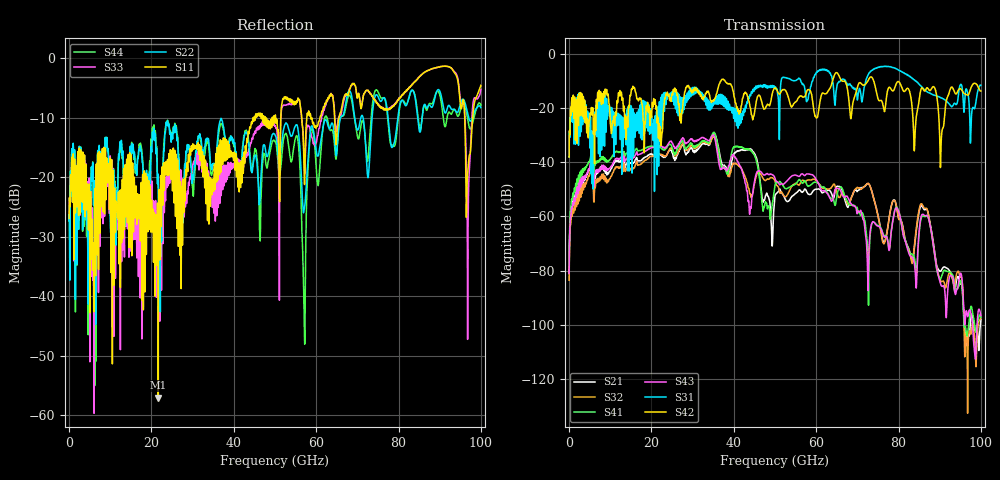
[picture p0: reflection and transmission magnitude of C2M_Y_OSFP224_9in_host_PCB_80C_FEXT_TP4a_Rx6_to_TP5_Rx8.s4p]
# GHz S RI R 45
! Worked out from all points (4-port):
!   4000 points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, 25 MHz to 100 GHz, reference 45 ohm
!   strongest paths, dB at 25 MHz, 25.02 GHz, 50.02 GHz, 75.03 GHz, 100 GHz:
!     S42: -38.1, -14.8, -12.6, -16.6, -13.8
!     S31: -38.1, -14.4, -12.4, -5.0, -11.6
!     S43: -81.0, -33.0, -46.1, -63.6, -96.6
!     S41: -78.1, -34.8, -48.3, -63.4, -97.2
!     S32: -83.5, -35.4, -47.2, -60.0, -97.4
!     S21: -81.0, -36.6, -52.3, -59.6, -98.1
!   lowest |S11| = -57.0 dB at 21.68 GHz (marker M1), VSWR 1.00, Z = 45.1 - j0.026 ohm
!   |S11| at or under -10 dB: start of sweep to 44.65 GHz; 58.95 GHz to 60.92 GHz (1.968 GHz wide, 3.28 % of centre); 96.08 GHz to 98 GHz (1.928 GHz wide, 1.99 % of centre) (the widest 3 of 15)
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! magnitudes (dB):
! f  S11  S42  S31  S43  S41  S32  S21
! 25 MHz  -26.9  -38.1  -38.1  -81.0  -78.1  -83.5  -81.0
! 5.35 GHz  -28.6  -20.9  -36.8  -38.8  -36.9  -40.5  -39.2
! 21.68 GHz  -57.0  -29.6  -23.3  -33.9  -34.3  -37.0  -37.0
! 55.2 GHz  -7.2  -17.6  -9.8  -44.9  -47.7  -47.9  -51.3
! 57.05 GHz  -18.0  -16.0  -11.7  -44.8  -47.2  -47.0  -50.4
! 62.27 GHz  -7.7  -14.8  -5.8  -50.8  -50.0  -49.8  -50.7
! 100 GHz  -4.6  -13.8  -11.6  -96.6  -97.2  -97.4  -98.1
